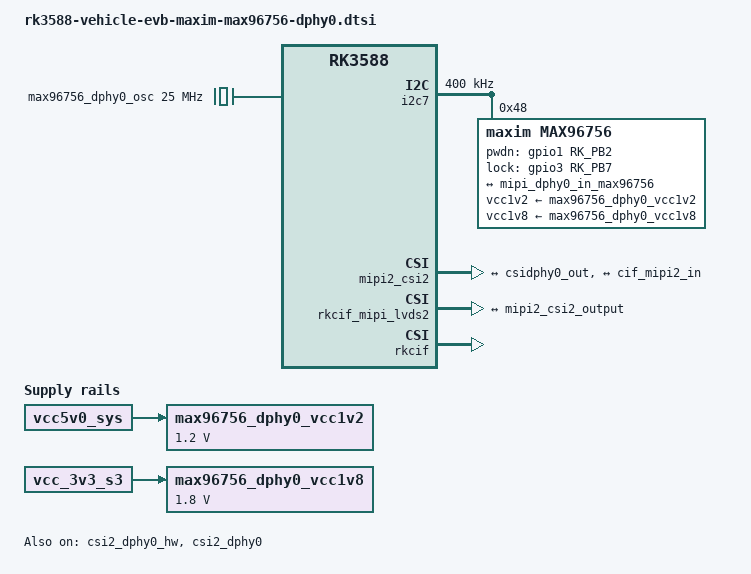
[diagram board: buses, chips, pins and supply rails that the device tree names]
// SPDX-License-Identifier: (GPL-2.0+ OR MIT)
/*
 * Copyright (c) 2023 Rockchip Electronics Co., Ltd.
 *
 */

/ {
	max96756_dphy0_osc: max96712-dphy0-oscillator@0 {
		compatible = "fixed-clock";
		#clock-cells = <1>;
		clock-frequency  = <25000000>;
		clock-output-names = "max96756-dphy0-osc";
	};

	max96756_dphy0_vcc1v2: max96756-dphy0-vcc1v2 {
		compatible = "regulator-fixed";
		regulator-name = "max96756_dphy0_vcc1v2";
		regulator-boot-on;
		regulator-always-on;
		regulator-min-microvolt = <1200000>;
		regulator-max-microvolt = <1200000>;
		startup-delay-us = <850>;
		vin-supply = <&vcc5v0_sys>;
	};

	max96756_dphy0_vcc1v8: max96756-dphy0-vcc1v8 {
		compatible = "regulator-fixed";
		regulator-name = "max96756_dphy0_vcc1v8";
		regulator-boot-on;
		regulator-always-on;
		regulator-min-microvolt = <1800000>;
		regulator-max-microvolt = <1800000>;
		startup-delay-us = <200>;
		vin-supply = <&vcc_3v3_s3>;
	};
};

/**
 * ============================================================================
 * Info DPHY0
 * ============================================================================
 */
&csi2_dphy0_hw {
	status = "okay";
};

&csi2_dphy0 {
	status = "okay";

	ports {
		#address-cells = <1>;
		#size-cells = <0>;
		port@0 {
			reg = <0>;
			#address-cells = <1>;
			#size-cells = <0>;

			mipi_dphy0_in_max96756: endpoint@1 {
				reg = <1>;
				remote-endpoint = <&max96756_dphy0_out>;
				data-lanes = <1 2 3 4>;
			};
		};
		port@1 {
			reg = <1>;
			#address-cells = <1>;
			#size-cells = <0>;

			csidphy0_out: endpoint@0 {
				reg = <0>;
				remote-endpoint = <&mipi2_csi2_input>;
			};
		};
	};
};

&i2c7 {
	status = "okay";
	clock-frequency = <400000>;
	pinctrl-names = "default";
	pinctrl-0 = <&i2c7m3_xfer>;

	max96756: max96756@48 {
		compatible = "maxim,max96756";
		status = "okay";
		reg = <0x48>;

		clock-names = "xvclk";
		clocks = <&max96756_dphy0_osc 0>;
		power-domains = <&power RK3588_PD_VI>;
		rockchip,grf = <&sys_grf>;

		pinctrl-names = "default";
		pinctrl-0 = <&max96756_dphy0_pwdn>, <&max96756_dphy0_errb>, <&max96756_dphy0_lock>;

		pwdn-gpios = <&gpio1 RK_PB2 GPIO_ACTIVE_HIGH>;
		lock-gpios = <&gpio3 RK_PB7 GPIO_ACTIVE_HIGH>;

		vcc1v2-supply = <&max96756_dphy0_vcc1v2>;
		vcc1v8-supply = <&max96756_dphy0_vcc1v8>;

		rockchip,camera-module-index = <0>;
		rockchip,camera-module-facing = "back";
		rockchip,camera-module-name = "max96756";
		rockchip,camera-module-lens-name = "max96756";

		port {
			max96756_dphy0_out: endpoint {
				remote-endpoint = <&mipi_dphy0_in_max96756>;
				data-lanes = <1 2 3 4>;
			};
		};
	};
};

&mipi2_csi2 {
	status = "okay";

	ports {
		#address-cells = <1>;
		#size-cells = <0>;

		port@0 {
			reg = <0>;
			#address-cells = <1>;
			#size-cells = <0>;

			mipi2_csi2_input: endpoint@1 {
				reg = <1>;
				remote-endpoint = <&csidphy0_out>;
			};
		};

		port@1 {
			reg = <1>;
			#address-cells = <1>;
			#size-cells = <0>;

			mipi2_csi2_output: endpoint@0 {
				reg = <0>;
				remote-endpoint = <&cif_mipi2_in>;
			};
		};
	};
};

&rkcif_mipi_lvds2 {
	status = "okay";
	/* parameters for do cif reset detecting:
	 * index0: monitor mode,
		   0 for idle,
		   1 for continue,
		   2 for trigger,
		   3 for hotplug (for nextchip)
	 * index1: the frame id to start timer,
		   min is 2
	 * index2: frame num of monitoring cycle
	 * index3: err time for keep monitoring
		   after finding out err (ms)
	 * index4: csi2 err reference val for resetting
	 */
	rockchip,cif-monitor = <3 2 1 1000 5>;

	port {
		cif_mipi2_in: endpoint {
			remote-endpoint = <&mipi2_csi2_output>;
		};
	};
};

/**
 * =============================================================================
 * Common
 * =============================================================================
 */
&rkcif {
	status = "okay";
	rockchip,android-usb-camerahal-enable;
};

&rkcif_mmu {
	status = "okay";
};

&pinctrl {
	max96756-dphy0 {
		max96756_dphy0_pwdn: max96756-dphy0-pwdn {
			rockchip,pins = <1 RK_PB2 RK_FUNC_GPIO &pcfg_output_low>;
		};

		max96756_dphy0_errb: max96756-dphy0-errb {
			rockchip,pins = <3 RK_PD1 RK_FUNC_GPIO &pcfg_pull_none_smt>;
		};

		max96756_dphy0_lock: max96756-dphy0-lock {
			rockchip,pins = <3 RK_PB7 RK_FUNC_GPIO &pcfg_pull_none_smt>;
		};
	};
};
